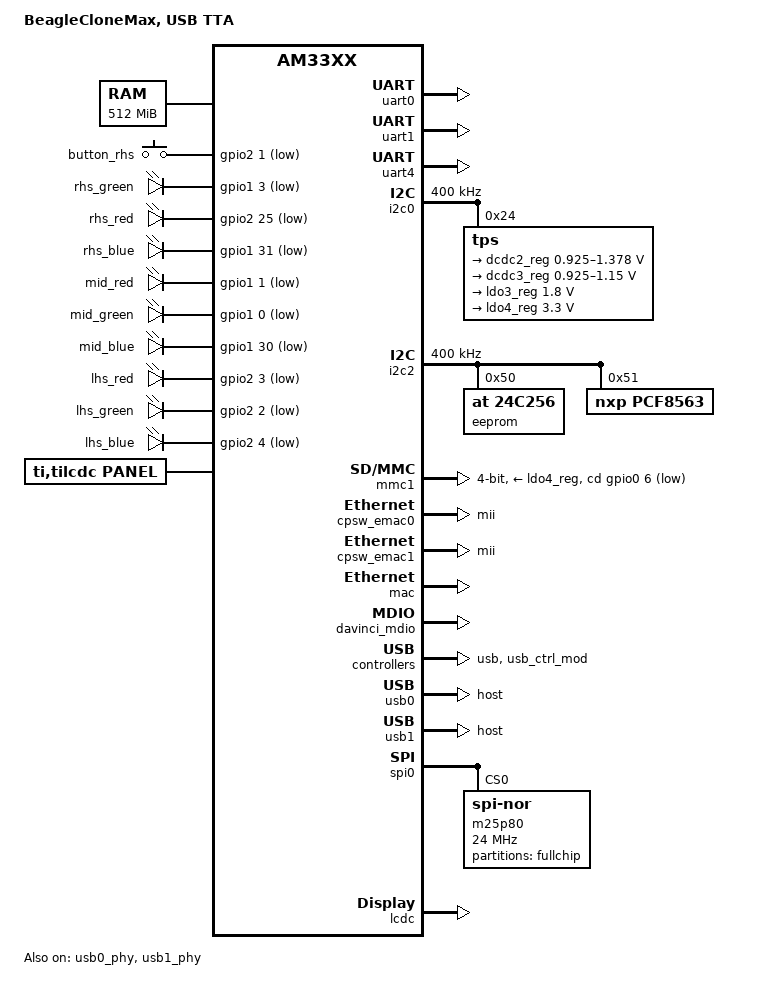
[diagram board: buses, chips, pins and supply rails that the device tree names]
/dts-v1/;

#include "am33xx.dtsi"
#include <dt-bindings/pwm/pwm.h>

/ {
	model = "BeagleCloneMax, USB TTA";
	compatible = "ti,am335x-beagleclonemax", "ti,am33xx";

	cpus {
	cpu@0 {
			cpu0-supply = <&dcdc2_reg>;
		};
	};

	memory {
		device_type = "memory";
		reg = <0x80000000 0x20000000>; /* 512 MB */
	};

        gpio_inputs {
                compatible = "gpio-keys";
                #address-cells = <1>;
                #size-cells = <0>;

                gpio_input@1 {
                        label="button_rhs";
                        linux,code = <0x100>;
                        gpios = <&gpio2 1 GPIO_ACTIVE_LOW>;
                };
        };

	leds
	{
		compatible = "gpio-leds";
		pinctrl-names = "default";
		pinctrl-0 = <&gpio_pins>;
		//rhs RGB LED
		led@1 {
			label="rhs_green";
			gpios = <&gpio1 3 GPIO_ACTIVE_LOW>;
			linux,default-trigger = "none";
		};
		led@2 {
			label="rhs_red";
			gpios = <&gpio2 25 GPIO_ACTIVE_LOW>;
			linux,default-trigger = "mtd";
		};
		led@3 {
			label="rhs_blue";
			gpios = <&gpio1 31 GPIO_ACTIVE_LOW>;
			linux,default-trigger = "none";
		};

		//middle RGB LED
		led@4 {
			label="mid_red";
			gpios = <&gpio1 1 GPIO_ACTIVE_LOW>;
			linux,default-trigger = "cpu";
		};
		led@5 {
			label="mid_green";
			gpios = <&gpio1 0 GPIO_ACTIVE_LOW>;
			linux,default-trigger = "none";
		};

		led@6 {
			label="mid_blue";
			gpios = <&gpio1 30 GPIO_ACTIVE_LOW>;
			linux,default-trigger = "none";

		};

		//lhs RGB LED
		led@7 {
			label="lhs_red";
			gpios = <&gpio2 3 GPIO_ACTIVE_LOW>;
			linux,default-trigger = "default-on";
		};
		led@8 {
			label="lhs_green";
			gpios = <&gpio2 2 GPIO_ACTIVE_LOW>;
			linux,default-trigger = "none";
		};
		led@9 {
			label="lhs_blue";
			gpios = <&gpio2 4 GPIO_ACTIVE_LOW>;
			linux,default-trigger = "default-on";
		};
	};

        panel {
                compatible = "ti,tilcdc,panel";
                status = "okay";
                pinctrl-names = "default";
                pinctrl-0 = <&lcdif_pins>;

                panel-info {
                        ac-bias         = <255>;
                        ac-bias-intrpt  = <0>;
                        dma-burst-sz    = <16>;
                        bpp             = <32>;
                        fdd             = <0x80>;
                        sync-edge       = <0>;
                        sync-ctrl       = <1>;
                        raster-order    = <0>;
                        fifo-th         = <0>;
                };
                display-timings {
                        480x272 {
                                hactive         = <480>;
                                vactive         = <272>;
                                hback-porch     = <43>;
                                hfront-porch    = <8>;
                                hsync-len       = <4>;
                                vback-porch     = <12>;
                                vfront-porch    = <4>;
                                vsync-len       = <10>;
                                clock-frequency = <9000000>;
                                hsync-active    = <0>;
                                vsync-active    = <0>;
                        };
                };
	};
}; //board

&am33xx_pinmux {
	pinctrl-names = "default";

	gpio_pins: pinmux_gpio_pins 
	{
		pinctrl-single,pins = <
			//USB power-control outputs
			0x1b0 (PIN_OUTPUT_PULLUP | MUX_MODE7)   /* USB PORT POWER (xdma_event_intr0)  */
			0x1b4 (PIN_OUTPUT_PULLUP | MUX_MODE7)	/* WIFI PORT POWER (xdma_event_intr1) */
			
			//user button on gpio2_1
			0x08C (PIN_INPUT_PULLUP | MUX_MODE7) /* USER button (gpmc_clk) */		

			//zwave reset
			0x07c (PIN_OUTPUT_PULLUP | MUX_MODE7)	/* ZWAVE reset on gpio1_29/gpmc_csn0 */		
		>;
	};

	//main i2c for PMIC
	i2c0_pins: pinmux_i2c0_pins {
		pinctrl-single,pins = <
			0x188 (PIN_INPUT_PULLUP | MUX_MODE0)	/* i2c0_sda.i2c0_sda */
			0x18c (PIN_INPUT_PULLUP | MUX_MODE0)	/* i2c0_scl.i2c0_scl */
		>;
	};

	//expansion i2c: rtc,tpm,eeprom
	i2c2_pins: pinmux_i2c2_pins {
	pinctrl-single,pins = <
		0x178 (PIN_INPUT_PULLUP | MUX_MODE3)    /* i2c2_sda */
		0x17c (PIN_INPUT_PULLUP | MUX_MODE3)    /* i2c2_scl */
                >;
        };

	//console UART
	uart0_pins: pinmux_uart0_pins {
		pinctrl-single,pins = <
			0x170 (PIN_INPUT_PULLUP | MUX_MODE0)		/* uart0_rxd.uart0_rxd */
			0x174 (PIN_OUTPUT_PULLDOWN | MUX_MODE0)		/* uart0_txd.uart0_txd */
		>;
	};

	//ZWAVE UART
	uart4_pins: pinmux_uart4_pins {
		pinctrl-single,pins = <
			0x168 (PIN_INPUT_PULLUP | MUX_MODE1)		/* uart4_rxd, gpio1_8, "uart0_ctsn" = 0x968 -> 0x168 */
			0x16C (PIN_OUTPUT_PULLDOWN | MUX_MODE1)		/* uart4_txd, gpio1_9, "uart0_rtsn" = 0x96C -> 0x16c */
		>;
	};

	//UART1, J18, 'COMM HEADER'
	uart1_pins: pinmux_uart1_pins {
		pinctrl-single,pins = <
			0x180 (PIN_INPUT_PULLUP | MUX_MODE0)		/* uart1_rxd, gpio0_14 */
			0x184 (PIN_OUTPUT_PULLDOWN | MUX_MODE0)		/* uart1_txd, gpio0_15 */
		>;
	};
	
	//main SPI
	spi0_pins: pinmux_spi0_pins {
		pinctrl-single,pins = <
			0x150 (PIN_INPUT_PULLUP | MUX_MODE0)    /* spi0_clk.spi0_clk */
			0x154 (PIN_INPUT_PULLUP | MUX_MODE0)    /* spi0_d0.spi0_d0 */
			0x158 (PIN_INPUT_PULLUP | MUX_MODE0)    /* spi0_d1.spi0_d1 */
			0x15c (PIN_INPUT_PULLUP | MUX_MODE0)    /* spi0_cs0.spi0_cs0 */
            >;
	};

	cpsw_default: cpsw_default {
		pinctrl-single,pins = <
			/* Slave 1 */
			0x110 (PIN_INPUT_PULLUP | MUX_MODE0)    /* mii1_rxerr.mii1_rxerr */
			0x114 (PIN_OUTPUT_PULLDOWN | MUX_MODE0) /* mii1_txen.mii1_txen */
			0x118 (PIN_INPUT_PULLUP | MUX_MODE0)    /* mii1_rxdv.mii1_rxdv */
			0x11c (PIN_OUTPUT_PULLDOWN | MUX_MODE0) /* mii1_txd3.mii1_txd3 */
			0x120 (PIN_OUTPUT_PULLDOWN | MUX_MODE0) /* mii1_txd2.mii1_txd2 */
			0x124 (PIN_OUTPUT_PULLDOWN | MUX_MODE0) /* mii1_txd1.mii1_txd1 */
			0x128 (PIN_OUTPUT_PULLDOWN | MUX_MODE0) /* mii1_txd0.mii1_txd0 */
			0x12c (PIN_INPUT_PULLUP | MUX_MODE0)    /* mii1_txclk.mii1_txclk */
			0x130 (PIN_INPUT_PULLUP | MUX_MODE0)    /* mii1_rxclk.mii1_rxclk */
			0x134 (PIN_INPUT_PULLUP | MUX_MODE0)    /* mii1_rxd3.mii1_rxd3 */
			0x138 (PIN_INPUT_PULLUP | MUX_MODE0)    /* mii1_rxd2.mii1_rxd2 */
			0x13c (PIN_INPUT_PULLUP | MUX_MODE0)    /* mii1_rxd1.mii1_rxd1 */
			0x140 (PIN_INPUT_PULLUP | MUX_MODE0)    /* mii1_rxd0.mii1_rxd0 */

			/* Slave 2 */
			0x074 (PIN_INPUT_PULLUP | MUX_MODE1)    /* U17, 0-31, gpmc_wpm (mii2_rxer) */
			0x040 (PIN_OUTPUT_PULLDOWN | MUX_MODE1) /* R13, 1-16, gpmc_a0 (mii2_txen) */
			0x044 (PIN_INPUT_PULLUP | MUX_MODE1)    /* V14, 1-17, gpmc_a1 (mii2_rxdv) */
			0x048 (PIN_OUTPUT_PULLDOWN | MUX_MODE1) /* U14, 1-18, gpmc_a2 (mii2_txd3) */
			0x04C (PIN_OUTPUT_PULLDOWN | MUX_MODE1) /* 	1-19, gpmc_a3 (mii2_txd2) */
			0x050 (PIN_OUTPUT_PULLDOWN | MUX_MODE1) /* 	1-20, gpmc_a4 (mii2_txd1) */
			0x054 (PIN_OUTPUT_PULLDOWN | MUX_MODE1) /* 	1-21, gpmc_a5 (mii2_txd0) */
			0x058 (PIN_INPUT_PULLUP | MUX_MODE1)    /* 	1-22, gpmc_a6 (mii2_txclk) */
			0x05C (PIN_INPUT_PULLUP | MUX_MODE1)    /* 	1-23, gpmc_a7 (mii2_rxclk) */
			0x060 (PIN_INPUT_PULLUP | MUX_MODE1)    /* 	1-24, gpmc_a8 (mii2_rxd3) */
			0x064 (PIN_INPUT_PULLUP | MUX_MODE1)    /* 	1-25, gpmc_a9 (mii2_rxd2) */
			0x068 (PIN_INPUT_PULLUP | MUX_MODE1)    /* 	1-26, gpmc_a10 (mii2_rxd1) */
			0x06C (PIN_INPUT_PULLUP | MUX_MODE1)    /* 	1-27, gpmc_a11 (mii2_rxd0) */
		>;
	};

	cpsw_sleep: cpsw_sleep {
		pinctrl-single,pins = <
			/* Slave 1 reset value */
			0x110 (PIN_INPUT_PULLDOWN | MUX_MODE7)
			0x114 (PIN_INPUT_PULLDOWN | MUX_MODE7)
			0x118 (PIN_INPUT_PULLDOWN | MUX_MODE7)
			0x11c (PIN_INPUT_PULLDOWN | MUX_MODE7)
			0x120 (PIN_INPUT_PULLDOWN | MUX_MODE7)
			0x124 (PIN_INPUT_PULLDOWN | MUX_MODE7)
			0x128 (PIN_INPUT_PULLDOWN | MUX_MODE7)
			0x12c (PIN_INPUT_PULLDOWN | MUX_MODE7)
			0x130 (PIN_INPUT_PULLDOWN | MUX_MODE7)
			0x134 (PIN_INPUT_PULLDOWN | MUX_MODE7)
			0x138 (PIN_INPUT_PULLDOWN | MUX_MODE7)
			0x13c (PIN_INPUT_PULLDOWN | MUX_MODE7)
			0x140 (PIN_INPUT_PULLDOWN | MUX_MODE7)

			0x074 (PIN_INPUT_PULLUP | MUX_MODE7)    /* U17, 0-31, gpmc_wpm (mii2_rxer) */
			0x040 (PIN_OUTPUT_PULLDOWN | MUX_MODE7) /* R13, 1-16, gpmc_a0 (mii2_txen) */
			0x044 (PIN_INPUT_PULLUP | MUX_MODE7)    /* V14, 1-17, gpmc_a1 (mii2_rxdv) */
			0x048 (PIN_OUTPUT_PULLDOWN | MUX_MODE7) /* U14, 1-18, gpmc_a2 (mii2_txd3) */
			0x04C (PIN_OUTPUT_PULLDOWN | MUX_MODE7) /* 	1-19, gpmc_a3 (mii2_txd2) */
			0x050 (PIN_OUTPUT_PULLDOWN | MUX_MODE7) /* 	1-20, gpmc_a4 (mii2_txd1) */
			0x054 (PIN_OUTPUT_PULLDOWN | MUX_MODE7) /* 	1-21, gpmc_a5 (mii2_txd0) */
			0x058 (PIN_INPUT_PULLUP | MUX_MODE7)    /* 	1-22, gpmc_a6 (mii2_txclk) */
			0x05C (PIN_INPUT_PULLUP | MUX_MODE7)    /* 	1-23, gpmc_a7 (mii2_rxclk) */
			0x060 (PIN_INPUT_PULLUP | MUX_MODE7)    /* 	1-24, gpmc_a8 (mii2_rxd3) */
			0x064 (PIN_INPUT_PULLUP | MUX_MODE7)    /* 	1-25, gpmc_a9 (mii2_rxd2) */
			0x068 (PIN_INPUT_PULLUP | MUX_MODE7)    /* 	1-26, gpmc_a10 (mii2_rxd1) */
			0x06C (PIN_INPUT_PULLUP | MUX_MODE1)    /* 	1-27, gpmc_a11 (mii2_rxd0) */
		>;
	};

	davinci_mdio_default: davinci_mdio_default {
		pinctrl-single,pins = <
			/* MDIO */
			0x148 (PIN_INPUT_PULLUP | SLEWCTRL_FAST | MUX_MODE0)    /* mdio_data.mdio_data */
			0x14c (PIN_OUTPUT_PULLUP | MUX_MODE0)                   /* mdio_clk.mdio_clk */
			>;
	};

	davinci_mdio_sleep: davinci_mdio_sleep {
		pinctrl-single,pins = <
			/* MDIO reset value */
			0x148 (PIN_INPUT_PULLDOWN | MUX_MODE7)
			0x14c (PIN_INPUT_PULLDOWN | MUX_MODE7)
			>;
	};

	mmc0_pins_default: pinmux_mmc0_pins {
		pinctrl-single,pins = <
		0x0F0 (PIN_INPUT_PULLUP | MUX_MODE0)    /* mmc0_dat3.mmc0_dat3 */
		0x0F4 (PIN_INPUT_PULLUP | MUX_MODE0)    /* mmc0_dat2.mmc0_dat2 */
		0x0F8 (PIN_INPUT_PULLUP | MUX_MODE0)    /* mmc0_dat1.mmc0_dat1 */
		0x0FC (PIN_INPUT_PULLUP | MUX_MODE0)    /* mmc0_dat0.mmc0_dat0 */
		0x100 (PIN_INPUT_PULLUP | MUX_MODE0)    /* mmc0_clk.mmc0_clk */
		0x104 (PIN_INPUT_PULLUP | MUX_MODE0)    /* mmc0_cmd.mmc0_cmd */
		0x160 (PIN_INPUT | MUX_MODE7)           /* spi0_cs1.gpio0_6 */
		>;
	};

        lcdif_pins: lcdif_pins {
                pinctrl-single,pins = <
                        AM33XX_PADCONF(AM335X_PIN_GPMC_AD8, PIN_OUTPUT, MUX_MODE1)              /* gpmc_ad8.lcd_data23 */
                        AM33XX_PADCONF(AM335X_PIN_GPMC_AD9, PIN_OUTPUT, MUX_MODE1)              /* gpmc_ad9.lcd_data22 */
                        AM33XX_PADCONF(AM335X_PIN_GPMC_AD10, PIN_OUTPUT, MUX_MODE1)             /* gpmc_ad10.lcd_data21 */
                        AM33XX_PADCONF(AM335X_PIN_GPMC_AD11, PIN_OUTPUT, MUX_MODE1)             /* gpmc_ad11.lcd_data20 */
                        AM33XX_PADCONF(AM335X_PIN_GPMC_AD12, PIN_OUTPUT, MUX_MODE1)             /* gpmc_ad12.lcd_data19 */
                        AM33XX_PADCONF(AM335X_PIN_GPMC_AD13, PIN_OUTPUT, MUX_MODE1)             /* gpmc_ad13.lcd_data18 */
                        AM33XX_PADCONF(AM335X_PIN_GPMC_AD14, PIN_OUTPUT, MUX_MODE1)             /* gpmc_ad14.lcd_data17 */
                        AM33XX_PADCONF(AM335X_PIN_GPMC_AD15, PIN_OUTPUT, MUX_MODE1)             /* gpmc_ad15.lcd_data16 */
                        AM33XX_PADCONF(AM335X_PIN_LCD_DATA0, PIN_OUTPUT, MUX_MODE0)
                        AM33XX_PADCONF(AM335X_PIN_LCD_DATA1, PIN_OUTPUT, MUX_MODE0)
                        AM33XX_PADCONF(AM335X_PIN_LCD_DATA2, PIN_OUTPUT, MUX_MODE0)
                        AM33XX_PADCONF(AM335X_PIN_LCD_DATA3, PIN_OUTPUT, MUX_MODE0)
                        AM33XX_PADCONF(AM335X_PIN_LCD_DATA4, PIN_OUTPUT, MUX_MODE0)
                        AM33XX_PADCONF(AM335X_PIN_LCD_DATA5, PIN_OUTPUT, MUX_MODE0)
                        AM33XX_PADCONF(AM335X_PIN_LCD_DATA6, PIN_OUTPUT, MUX_MODE0)
                        AM33XX_PADCONF(AM335X_PIN_LCD_DATA7, PIN_OUTPUT, MUX_MODE0)
                        AM33XX_PADCONF(AM335X_PIN_LCD_DATA8, PIN_OUTPUT, MUX_MODE0)
                        AM33XX_PADCONF(AM335X_PIN_LCD_DATA9, PIN_OUTPUT, MUX_MODE0)
                        AM33XX_PADCONF(AM335X_PIN_LCD_DATA10, PIN_OUTPUT, MUX_MODE0)
                        AM33XX_PADCONF(AM335X_PIN_LCD_DATA11, PIN_OUTPUT, MUX_MODE0)
                        AM33XX_PADCONF(AM335X_PIN_LCD_DATA12, PIN_OUTPUT, MUX_MODE0)
                        AM33XX_PADCONF(AM335X_PIN_LCD_DATA13, PIN_OUTPUT, MUX_MODE0)
                        AM33XX_PADCONF(AM335X_PIN_LCD_DATA14, PIN_OUTPUT, MUX_MODE0)
                        AM33XX_PADCONF(AM335X_PIN_LCD_DATA15, PIN_OUTPUT, MUX_MODE0)
                        AM33XX_PADCONF(AM335X_PIN_LCD_VSYNC, PIN_OUTPUT_PULLDOWN, MUX_MODE0)
                        AM33XX_PADCONF(AM335X_PIN_LCD_HSYNC, PIN_OUTPUT_PULLDOWN, MUX_MODE0)
                        AM33XX_PADCONF(AM335X_PIN_LCD_PCLK, PIN_OUTPUT_PULLDOWN, MUX_MODE0)
                        AM33XX_PADCONF(AM335X_PIN_LCD_AC_BIAS_EN, PIN_OUTPUT_PULLDOWN, MUX_MODE0)
                >;
        };

};//pins

&uart0 {
		pinctrl-names = "default";
		pinctrl-0 = <&uart0_pins>;
		status = "okay";
};

&uart1 {
		pinctrl-names = "default";
		pinctrl-0 = <&uart1_pins>;
		status = "okay";
};

&uart4 {
		pinctrl-names = "default";
		pinctrl-0 = <&uart4_pins>;
		status = "okay";
};

&i2c0 {
	pinctrl-names = "default";
	pinctrl-0 = <&i2c0_pins>;	
	status = "okay";
	clock-frequency = <400000>;
	tps: tps@24 {
		reg = <0x24>;
	};
};

&i2c2 {
	pinctrl-names = "default";
	pinctrl-0 = <&i2c2_pins>;	
	status = "okay";
	clock-frequency = <400000>;
	eeprom: eeprom@50 {
	compatible = "at,24c256";
                reg = <0x50>;
	};
	pcf8563: rtc@51 {
		compatible = "nxp,pcf8563";
		reg = <0x51>;
	};
};


#include "tps65217.dtsi"

&rtc {
	system-power-controller;
};

&tps {
	ti,pmic-shutdown-controller;

        backlight {
                isel = <2>; /* ISET2 */
                fdim = <200>; /* TPS65217_BL_FDIM_200HZ */
                default-brightness = <1>;
        };

        regulators {
                dcdc1_reg: regulator@0 {
                        regulator-always-on;
                };

                dcdc2_reg: regulator@1 {
                        /* VDD_MPU voltage limits 0.95V - 1.325V with +/-4% tol*/
                        regulator-name = "vdd_mpu";
                        regulator-min-microvolt = <925000>;
                        regulator-max-microvolt = <1378000>;
                        regulator-boot-on;
                        regulator-always-on;
                };

                dcdc3_reg: regulator@2 {
                        /* VDD_CORE voltage limits 0.95V - 1.1V with +/-4% tole*/
                        regulator-name = "vdd_core";
                        regulator-min-microvolt = <925000>;
                        regulator-max-microvolt = <1150000>;
                        regulator-boot-on;
                        regulator-always-on;
                };
                ldo1_reg: regulator@3 {
                        regulator-always-on;
                };

                ldo2_reg: regulator@4 {
                        regulator-always-on;
                };

                ldo3_reg: regulator@5 {
					regulator-always-on;
					regulator-min-microvolt = <1800000>;
					regulator-max-microvolt = <1800000>;
                };

                ldo4_reg: regulator@6 {
					regulator-always-on;
					regulator-min-microvolt = <3300000>;
					regulator-max-microvolt = <3300000>;
                };
        };//regulators
};//tps

&mmc1 {
        bus-width = <4>;
        pinctrl-names = "default";
        pinctrl-0 = <&mmc0_pins_default>;
        cd-gpios = <&gpio0 6 GPIO_ACTIVE_HIGH>;
        cd-inverted;
        vmmc-supply = <&ldo4_reg>;
        status = "okay";
};

&gpio0 {
	ti,no-reset;
};

&cppi41dma  {
	status = "okay";
};

&cpsw_emac0 {
        phy_id = <&davinci_mdio>, <0>;
        phy-mode = "mii";
	dual_emac_res_vlan = <1>;
};

&cpsw_emac1 {
        phy_id = <&davinci_mdio>, <1>;
        phy-mode = "mii";
	dual_emac_res_vlan = <2>;
};

&mac {
        //slaves = <2>;
        pinctrl-names = "default", "sleep";
        pinctrl-0 = <&cpsw_default>;
        pinctrl-1 = <&cpsw_sleep>;
	dual_emac;	
	status = "okay";
};

&davinci_mdio {
        pinctrl-names = "default", "sleep";
        pinctrl-0 = <&davinci_mdio_default>;
        pinctrl-1 = <&davinci_mdio_sleep>;
	status = "okay";
};

&usb {
	status = "okay";
	pinctrl-names = "default";
};

&usb_ctrl_mod {
	status = "okay";
};

&usb0_phy {
	status = "okay";
};

&usb1_phy {
	status = "okay";
};

&usb0 {
	status = "okay";
	dr_mode = "host";
	mentor,power = <1500>;
};

&usb1 {
	status = "okay";
	dr_mode = "host";
	mentor,power = <1500>;
};

&spi0 {
	pinctrl-names = "default";
	pinctrl-0 = <&spi0_pins>;
	status = "okay";
	m25p80@0 {
		compatible = "jedec,spi-nor";
		spi-max-frequency = <24000000>;
		reg = <0x0>;
		#address-cells = <1>;
		#size-cells = <1>;
		partition@0xA0000 {
			label = "fullchip";
		reg = <0x00000 0x1000000>;
		};
	};
};

&lcdc {
        status = "okay";
        blue-and-red-wiring = "crossed";
};

